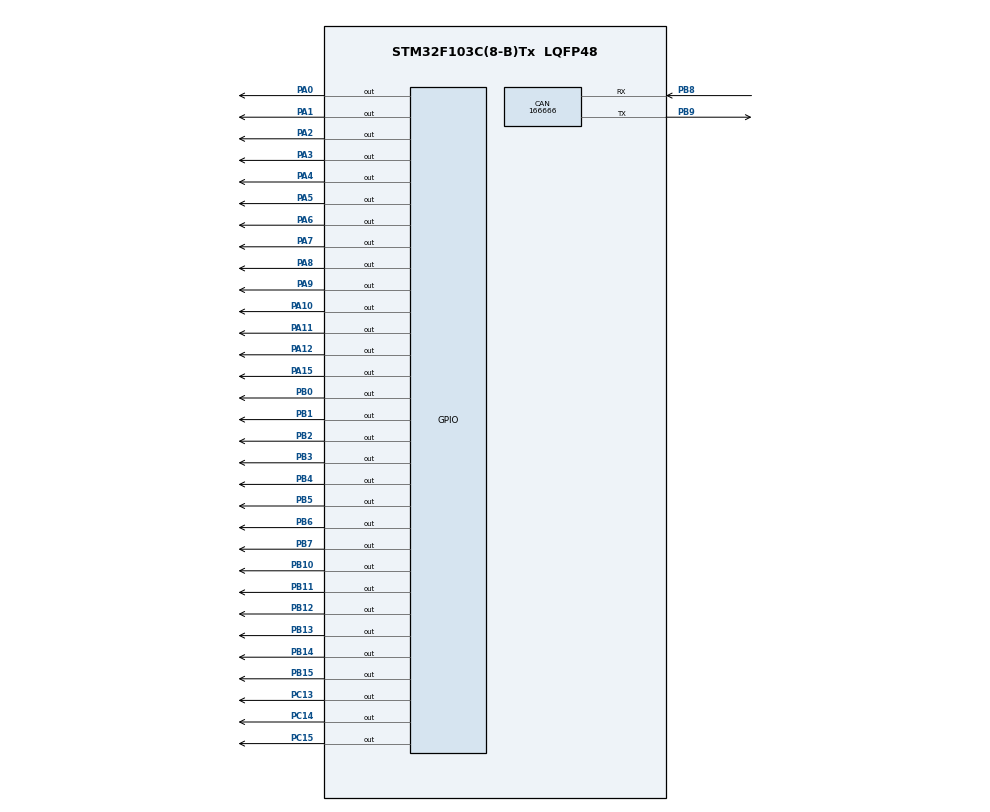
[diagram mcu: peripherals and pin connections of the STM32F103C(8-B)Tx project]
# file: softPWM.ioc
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CAN.CalculateBaudRate=166666
CAN.CalculateTimeBit=6000
CAN.CalculateTimeQuantum=2000.0
Dma.Request0=TIM1_UP
Dma.Request1=TIM2_UP
Dma.Request2=TIM4_UP
Dma.Request3=TIM1_CH4/TRIG/COM
Dma.TIM1_CH4/TRIG/COM.3.Direction=DMA_MEMORY_TO_PERIPH
Dma.TIM1_CH4/TRIG/COM.3.Instance=DMA1_Channel4
Dma.TIM1_CH4/TRIG/COM.3.MemDataAlignment=DMA_MDATAALIGN_WORD
Dma.TIM1_CH4/TRIG/COM.3.MemInc=DMA_MINC_ENABLE
Dma.TIM1_CH4/TRIG/COM.3.Mode=DMA_CIRCULAR
Dma.TIM1_CH4/TRIG/COM.3.PeriphDataAlignment=DMA_PDATAALIGN_WORD
Dma.TIM1_CH4/TRIG/COM.3.PeriphInc=DMA_PINC_DISABLE
Dma.TIM1_CH4/TRIG/COM.3.Priority=DMA_PRIORITY_LOW
Dma.TIM1_UP.0.Direction=DMA_MEMORY_TO_PERIPH
Dma.TIM1_UP.0.Instance=DMA1_Channel5
Dma.TIM1_UP.0.MemDataAlignment=DMA_MDATAALIGN_WORD
Dma.TIM1_UP.0.MemInc=DMA_MINC_ENABLE
Dma.TIM1_UP.0.Mode=DMA_CIRCULAR
Dma.TIM1_UP.0.PeriphDataAlignment=DMA_PDATAALIGN_WORD
Dma.TIM1_UP.0.PeriphInc=DMA_PINC_DISABLE
Dma.TIM1_UP.0.Priority=DMA_PRIORITY_LOW
Dma.TIM2_UP.1.Direction=DMA_MEMORY_TO_PERIPH
Dma.TIM2_UP.1.Instance=DMA1_Channel2
Dma.TIM2_UP.1.MemDataAlignment=DMA_MDATAALIGN_WORD
Dma.TIM2_UP.1.MemInc=DMA_MINC_ENABLE
Dma.TIM2_UP.1.Mode=DMA_CIRCULAR
Dma.TIM2_UP.1.PeriphDataAlignment=DMA_PDATAALIGN_WORD
Dma.TIM2_UP.1.PeriphInc=DMA_PINC_DISABLE
Dma.TIM2_UP.1.Priority=DMA_PRIORITY_LOW
Dma.TIM4_UP.2.Direction=DMA_MEMORY_TO_PERIPH
Dma.TIM4_UP.2.Instance=DMA1_Channel7
Dma.TIM4_UP.2.MemDataAlignment=DMA_MDATAALIGN_WORD
Dma.TIM4_UP.2.MemInc=DMA_MINC_ENABLE
Dma.TIM4_UP.2.Mode=DMA_CIRCULAR
Dma.TIM4_UP.2.PeriphDataAlignment=DMA_PDATAALIGN_WORD
Dma.TIM4_UP.2.PeriphInc=DMA_PINC_DISABLE
Dma.TIM4_UP.2.Priority=DMA_PRIORITY_LOW
Mcu.Family=STM32F1
Mcu.Name=STM32F103C(8-B)Tx
Mcu.Package=LQFP48
NVIC.DMA1_Channel2_IRQn=true\:0\:0\:false\:false\:true\:false\:true\:true
NVIC.DMA1_Channel4_IRQn=true\:0\:0\:false\:false\:true\:false\:true\:true
NVIC.DMA1_Channel5_IRQn=true\:0\:0\:false\:false\:true\:false\:true\:true
NVIC.DMA1_Channel7_IRQn=true\:0\:0\:false\:false\:true\:false\:true\:true
NVIC.PriorityGroup=NVIC_PRIORITYGROUP_4
PA0-WKUP.GPIO_PuPd=GPIO_PULLUP
PA0-WKUP.GPIO_Speed=GPIO_SPEED_FREQ_LOW
PA0-WKUP.Signal=GPIO_Output
PA1.GPIO_PuPd=GPIO_PULLUP
PA1.GPIO_Speed=GPIO_SPEED_FREQ_LOW
PA1.Signal=GPIO_Output
PA10.GPIO_Speed=GPIO_SPEED_FREQ_LOW
PA10.Signal=GPIO_Output
PA11.Signal=GPIO_Output
PA12.GPIO_Speed=GPIO_SPEED_FREQ_HIGH
PA12.Signal=GPIO_Output
PA13.Mode=Serial_Wire
PA13.Signal=SYS_JTMS-SWDIO
PA14.Mode=Serial_Wire
PA14.Signal=SYS_JTCK-SWCLK
PA15.Signal=GPIO_Output
PA2.GPIO_Speed=GPIO_SPEED_FREQ_LOW
PA2.Signal=GPIO_Output
PA3.GPIO_Speed=GPIO_SPEED_FREQ_LOW
PA3.Signal=GPIO_Output
PA4.GPIO_Speed=GPIO_SPEED_FREQ_LOW
PA4.Signal=GPIO_Output
PA5.GPIO_Speed=GPIO_SPEED_FREQ_LOW
PA5.PinState=GPIO_PIN_RESET
PA5.Signal=GPIO_Output
PA6.GPIO_Speed=GPIO_SPEED_FREQ_LOW
PA6.Signal=GPIO_Output
PA7.GPIO_Speed=GPIO_SPEED_FREQ_LOW
PA7.Signal=GPIO_Output
PA8.GPIO_Speed=GPIO_SPEED_FREQ_LOW
PA8.Signal=GPIO_Output
PA9.GPIO_Speed=GPIO_SPEED_FREQ_LOW
PA9.Signal=GPIO_Output
PB0.Signal=GPIO_Output
PB1.Signal=GPIO_Output
PB10.Signal=GPIO_Output
PB11.Signal=GPIO_Output
PB12.Signal=GPIO_Output
PB13.Signal=GPIO_Output
PB14.Signal=GPIO_Output
PB15.Signal=GPIO_Output
PB2.Signal=GPIO_Output
PB3.Signal=GPIO_Output
PB4.Signal=GPIO_Output
PB5.Signal=GPIO_Output
PB6.Signal=GPIO_Output
PB7.Signal=GPIO_Output
PB8.Mode=CAN_Activate
PB8.Signal=CAN_RX
PB9.Mode=CAN_Activate
PB9.Signal=CAN_TX
PC13-TAMPER-RTC.GPIO_ModeDefaultOutputPP=GPIO_MODE_OUTPUT_PP
PC13-TAMPER-RTC.GPIO_PuPd=GPIO_PULLDOWN
PC13-TAMPER-RTC.GPIO_Speed=GPIO_SPEED_FREQ_LOW
PC13-TAMPER-RTC.Signal=GPIO_Output
PC14-OSC32_IN.Signal=GPIO_Output
PC15-OSC32_OUT.Signal=GPIO_Output
PD0-OSC_IN.Mode=HSE-External-Oscillator
PD0-OSC_IN.Signal=RCC_OSC_IN
PD1-OSC_OUT.Mode=HSE-External-Oscillator
PD1-OSC_OUT.Signal=RCC_OSC_OUT
ProjectManager.HeapSize=0x200
ProjectManager.StackSize=0x400
ProjectManager.TargetToolchain=STM32CubeIDE
RCC.APB1Freq_Value=8000000
RCC.APB2Freq_Value=8000000
TIM1.Period=49
TIM1.TIM_MasterOutputTrigger=TIM_TRGO_UPDATE
TIM2.Period=50-1
TIM2.TIM_MasterOutputTrigger=TIM_TRGO_UPDATE
TIM4.AutoReloadPreload=TIM_AUTORELOAD_PRELOAD_ENABLE
TIM4.Period=50-1
TIM4.TIM_MasterOutputTrigger=TIM_TRGO_UPDATE
VP_TIM1_VS_ClockSourceINT.Mode=Internal
VP_TIM2_VS_ClockSourceINT.Mode=Internal
VP_TIM4_VS_ClockSourceINT.Mode=Internal
board=custom

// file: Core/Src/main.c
/* USER CODE BEGIN Header */
/**
  ******************************************************************************
  * @file           : main.c
  * @brief          : Main program body
  ******************************************************************************
  * @attention
  *
  * Copyright (c) 2023 STMicroelectronics.
  * All rights reserved.
  *
  * This software is licensed under terms that can be found in the LICENSE file
  * in the root directory of this software component.
  * If no LICENSE file comes with this software, it is provided AS-IS.
  *
  ******************************************************************************
  */
/* USER CODE END Header */
#include "main.h"

/* USER CODE BEGIN PD */
#define lengthSoftPWMbuffer 100
/* USER CODE END PD */

CAN_HandleTypeDef hcan;

TIM_HandleTypeDef htim1;
TIM_HandleTypeDef htim2;
TIM_HandleTypeDef htim4;
DMA_HandleTypeDef hdma_tim1_up;
DMA_HandleTypeDef hdma_tim1_ch4_trig_com;
DMA_HandleTypeDef hdma_tim2_up;
DMA_HandleTypeDef hdma_tim4_up;

/* USER CODE BEGIN PV */
uint32_t dataA[lengthSoftPWMbuffer];
uint32_t dataB[lengthSoftPWMbuffer];
uint32_t dataC[lengthSoftPWMbuffer];
/* USER CODE END PV */

void SystemClock_Config(void);
static void MX_GPIO_Init(void);
static void MX_DMA_Init(void);
static void MX_TIM4_Init(void);
static void MX_TIM2_Init(void);
static void MX_TIM1_Init(void);
static void MX_CAN_Init(void);

/* USER CODE BEGIN 0 */

void zeroSoftPWM(uint32_t softpwmbuffer[]){
	for (uint32_t i = 0;  i < lengthSoftPWMbuffer; ++ i) {
			softpwmbuffer[i]=0;
	}
}
void setSoftPWM(uint16_t pin, uint32_t duty ,uint32_t *softpwmbuffer){
	for (uint32_t i = 0;  i < lengthSoftPWMbuffer; ++ i) {
		if(i<duty){//set pin
			softpwmbuffer[i]&=(uint32_t)~(pin<<16);
			softpwmbuffer[i]|=(uint32_t)pin;
		}else{//reset pin
			softpwmbuffer[i]&=(uint32_t)~(pin);
			softpwmbuffer[i]|=(uint32_t)pin<<16;
		}
	}

}
/* USER CODE END 0 */

int main(void)
{

  /* MCU Configuration--------------------------------------------------------*/

  /* Reset of all peripherals, Initializes the Flash interface and the Systick. */
  HAL_Init();

  /* Configure the system clock */
  SystemClock_Config();

  /* Initialize all configured peripherals */
  MX_GPIO_Init();
  MX_DMA_Init();
  MX_TIM4_Init();
  MX_TIM2_Init();
  MX_TIM1_Init();
  MX_CAN_Init();
  /* USER CODE BEGIN 2 */

  HAL_TIM_Base_Start(&htim1);
  HAL_TIM_Base_Start(&htim2);
  HAL_TIM_Base_Start(&htim4);
  HAL_DMA_Start_IT(&hdma_tim1_up, 	(uint32_t)&(dataA[0]), (uint32_t)&(GPIOA->BSRR), sizeof(dataA));
  HAL_DMA_Start_IT(&hdma_tim2_up, 	(uint32_t)&(dataB[0]), (uint32_t)&(GPIOB->ODR), sizeof(dataB));
  HAL_DMA_Start_IT(&hdma_tim4_up, 	(uint32_t)&(dataC[0]), (uint32_t)&(GPIOC->BSRR), sizeof(dataC));

  //start DMAs
  __HAL_TIM_ENABLE_DMA(&htim1, TIM_DMA_UPDATE);
  __HAL_TIM_ENABLE_DMA(&htim2, TIM_DMA_UPDATE);
  __HAL_TIM_ENABLE_DMA(&htim4, TIM_DMA_UPDATE);

  uint32_t o=0;
  uint32_t f=0;
  zeroSoftPWM(dataA);
  zeroSoftPWM(dataB);
  zeroSoftPWM(dataC);

//  setSoftPWM(GPIO_PIN_13, 10, (uint32_t*)&dataC);
//  setSoftPWM(GPIO_PIN_13, 50, (uint32_t*)&dataC);
//  setSoftPWM(GPIO_PIN_13, 100, (uint32_t*)&dataC);

  /* USER CODE END 2 */

  /* Infinite loop */
  while (1)
  {

    /* USER CODE BEGIN 3 */
	  //GPIO bank A
	 	  setSoftPWM(GPIO_PIN_0, o, (uint32_t*)&dataA);
	 	  setSoftPWM(GPIO_PIN_1, o, (uint32_t*)&dataA);
	 	  setSoftPWM(GPIO_PIN_2, o, (uint32_t*)&dataA);
	 	  setSoftPWM(GPIO_PIN_3, o, (uint32_t*)&dataA);
	 	  setSoftPWM(GPIO_PIN_4, o, (uint32_t*)&dataA);
	 	  setSoftPWM(GPIO_PIN_5, o, (uint32_t*)&dataA);
	 	  setSoftPWM(GPIO_PIN_6, o, (uint32_t*)&dataA);
	 	  setSoftPWM(GPIO_PIN_7, o, (uint32_t*)&dataA);
	 	  setSoftPWM(GPIO_PIN_8, o, (uint32_t*)&dataA);
	 	  setSoftPWM(GPIO_PIN_9, o, (uint32_t*)&dataA);
	 	  setSoftPWM(GPIO_PIN_10, o, (uint32_t*)&dataA);
	 	  setSoftPWM(GPIO_PIN_11, o, (uint32_t*)&dataA);
	 	  setSoftPWM(GPIO_PIN_12, o, (uint32_t*)&dataA);
	 	  setSoftPWM(GPIO_PIN_15, o, (uint32_t*)&dataA);
	 	  //GPIO bank B
	 	  setSoftPWM(GPIO_PIN_0, o, (uint32_t*)&dataB);
	 	  setSoftPWM(GPIO_PIN_1, o, (uint32_t*)&dataB);
	 	  setSoftPWM(GPIO_PIN_2, o, (uint32_t*)&dataB);
	 	  setSoftPWM(GPIO_PIN_3, o, (uint32_t*)&dataB);
	 	  setSoftPWM(GPIO_PIN_4, o, (uint32_t*)&dataB);
	 	  setSoftPWM(GPIO_PIN_5, o, (uint32_t*)&dataB);
	 	  setSoftPWM(GPIO_PIN_6, o, (uint32_t*)&dataB);
	 	  setSoftPWM(GPIO_PIN_7, o, (uint32_t*)&dataB);
	 	  //setSoftPWM(GPIO_PIN_8, o, (uint32_t*)&dataB);
	 	  //setSoftPWM(GPIO_PIN_9, o, (uint32_t*)&dataB);
	 	  setSoftPWM(GPIO_PIN_10, o, (uint32_t*)&dataB);
	 	  setSoftPWM(GPIO_PIN_11, o, (uint32_t*)&dataB);
	 	  setSoftPWM(GPIO_PIN_12, o, (uint32_t*)&dataB);
	 	  setSoftPWM(GPIO_PIN_13, o, (uint32_t*)&dataB);
	 	  setSoftPWM(GPIO_PIN_14, o, (uint32_t*)&dataB);
	 	  setSoftPWM(GPIO_PIN_15, o, (uint32_t*)&dataB);
	 	  //GPIO bank C
	 	  setSoftPWM(GPIO_PIN_13, o, (uint32_t*)&dataC);
	 	  setSoftPWM(GPIO_PIN_14, o, (uint32_t*)&dataC);
	 	  setSoftPWM(GPIO_PIN_15, o, (uint32_t*)&dataC);

	 	  if(o==0)
	 	  {
	 		  f=1;
	 	  }
	 	  else if (o==100)
	 		  f=0;

	 	  if(f==1){
	 		  o++;
	 	  }
	 	  else
	 		  o--;

  }
  /* USER CODE END 3 */
}

void SystemClock_Config(void)
{
  RCC_OscInitTypeDef RCC_OscInitStruct = {0};
  RCC_ClkInitTypeDef RCC_ClkInitStruct = {0};

  /** Initializes the RCC Oscillators according to the specified parameters
  * in the RCC_OscInitTypeDef structure.
  */
  RCC_OscInitStruct.OscillatorType = RCC_OSCILLATORTYPE_HSI;
  RCC_OscInitStruct.HSIState = RCC_HSI_ON;
  RCC_OscInitStruct.HSICalibrationValue = RCC_HSICALIBRATION_DEFAULT;
  RCC_OscInitStruct.PLL.PLLState = RCC_PLL_NONE;
  if (HAL_RCC_OscConfig(&RCC_OscInitStruct) != HAL_OK)
  {
    Error_Handler();
  }

  /** Initializes the CPU, AHB and APB buses clocks
  */
  RCC_ClkInitStruct.ClockType = RCC_CLOCKTYPE_HCLK|RCC_CLOCKTYPE_SYSCLK
                              |RCC_CLOCKTYPE_PCLK1|RCC_CLOCKTYPE_PCLK2;
  RCC_ClkInitStruct.SYSCLKSource = RCC_SYSCLKSOURCE_HSI;
  RCC_ClkInitStruct.AHBCLKDivider = RCC_SYSCLK_DIV1;
  RCC_ClkInitStruct.APB1CLKDivider = RCC_HCLK_DIV1;
  RCC_ClkInitStruct.APB2CLKDivider = RCC_HCLK_DIV1;

  if (HAL_RCC_ClockConfig(&RCC_ClkInitStruct, FLASH_LATENCY_0) != HAL_OK)
  {
    Error_Handler();
  }
}

static void MX_CAN_Init(void)
{

  hcan.Instance = CAN1;
  hcan.Init.Prescaler = 16;
  hcan.Init.Mode = CAN_MODE_NORMAL;
  hcan.Init.SyncJumpWidth = CAN_SJW_1TQ;
  hcan.Init.TimeSeg1 = CAN_BS1_1TQ;
  hcan.Init.TimeSeg2 = CAN_BS2_1TQ;
  hcan.Init.TimeTriggeredMode = DISABLE;
  hcan.Init.AutoBusOff = DISABLE;
  hcan.Init.AutoWakeUp = DISABLE;
  hcan.Init.AutoRetransmission = DISABLE;
  hcan.Init.ReceiveFifoLocked = DISABLE;
  hcan.Init.TransmitFifoPriority = DISABLE;
  if (HAL_CAN_Init(&hcan) != HAL_OK)
  {
    Error_Handler();
  }

}

static void MX_TIM1_Init(void)
{

  TIM_ClockConfigTypeDef sClockSourceConfig = {0};
  TIM_MasterConfigTypeDef sMasterConfig = {0};

  htim1.Instance = TIM1;
  htim1.Init.Prescaler = 0;
  htim1.Init.CounterMode = TIM_COUNTERMODE_UP;
  htim1.Init.Period = 49;
  htim1.Init.ClockDivision = TIM_CLOCKDIVISION_DIV1;
  htim1.Init.RepetitionCounter = 0;
  htim1.Init.AutoReloadPreload = TIM_AUTORELOAD_PRELOAD_DISABLE;
  if (HAL_TIM_Base_Init(&htim1) != HAL_OK)
  {
    Error_Handler();
  }
  sClockSourceConfig.ClockSource = TIM_CLOCKSOURCE_INTERNAL;
  if (HAL_TIM_ConfigClockSource(&htim1, &sClockSourceConfig) != HAL_OK)
  {
    Error_Handler();
  }
  sMasterConfig.MasterOutputTrigger = TIM_TRGO_UPDATE;
  sMasterConfig.MasterSlaveMode = TIM_MASTERSLAVEMODE_DISABLE;
  if (HAL_TIMEx_MasterConfigSynchronization(&htim1, &sMasterConfig) != HAL_OK)
  {
    Error_Handler();
  }

}

static void MX_TIM2_Init(void)
{

  TIM_ClockConfigTypeDef sClockSourceConfig = {0};
  TIM_MasterConfigTypeDef sMasterConfig = {0};

  htim2.Instance = TIM2;
  htim2.Init.Prescaler = 0;
  htim2.Init.CounterMode = TIM_COUNTERMODE_UP;
  htim2.Init.Period = 50-1;
  htim2.Init.ClockDivision = TIM_CLOCKDIVISION_DIV1;
  htim2.Init.AutoReloadPreload = TIM_AUTORELOAD_PRELOAD_DISABLE;
  if (HAL_TIM_Base_Init(&htim2) != HAL_OK)
  {
    Error_Handler();
  }
  sClockSourceConfig.ClockSource = TIM_CLOCKSOURCE_INTERNAL;
  if (HAL_TIM_ConfigClockSource(&htim2, &sClockSourceConfig) != HAL_OK)
  {
    Error_Handler();
  }
  sMasterConfig.MasterOutputTrigger = TIM_TRGO_UPDATE;
  sMasterConfig.MasterSlaveMode = TIM_MASTERSLAVEMODE_DISABLE;
  if (HAL_TIMEx_MasterConfigSynchronization(&htim2, &sMasterConfig) != HAL_OK)
  {
    Error_Handler();
  }

}

static void MX_TIM4_Init(void)
{

  TIM_ClockConfigTypeDef sClockSourceConfig = {0};
  TIM_MasterConfigTypeDef sMasterConfig = {0};

  htim4.Instance = TIM4;
  htim4.Init.Prescaler = 0;
  htim4.Init.CounterMode = TIM_COUNTERMODE_UP;
  htim4.Init.Period = 50-1;
  htim4.Init.ClockDivision = TIM_CLOCKDIVISION_DIV1;
  htim4.Init.AutoReloadPreload = TIM_AUTORELOAD_PRELOAD_ENABLE;
  if (HAL_TIM_Base_Init(&htim4) != HAL_OK)
  {
    Error_Handler();
  }
  sClockSourceConfig.ClockSource = TIM_CLOCKSOURCE_INTERNAL;
  if (HAL_TIM_ConfigClockSource(&htim4, &sClockSourceConfig) != HAL_OK)
  {
    Error_Handler();
  }
  sMasterConfig.MasterOutputTrigger = TIM_TRGO_UPDATE;
  sMasterConfig.MasterSlaveMode = TIM_MASTERSLAVEMODE_DISABLE;
  if (HAL_TIMEx_MasterConfigSynchronization(&htim4, &sMasterConfig) != HAL_OK)
  {
    Error_Handler();
  }

}

static void MX_DMA_Init(void)
{

  /* DMA controller clock enable */
  __HAL_RCC_DMA1_CLK_ENABLE();

  /* DMA interrupt init */
  /* DMA1_Channel2_IRQn interrupt configuration */
  HAL_NVIC_SetPriority(DMA1_Channel2_IRQn, 0, 0);
  HAL_NVIC_EnableIRQ(DMA1_Channel2_IRQn);
  /* DMA1_Channel4_IRQn interrupt configuration */
  HAL_NVIC_SetPriority(DMA1_Channel4_IRQn, 0, 0);
  HAL_NVIC_EnableIRQ(DMA1_Channel4_IRQn);
  /* DMA1_Channel5_IRQn interrupt configuration */
  HAL_NVIC_SetPriority(DMA1_Channel5_IRQn, 0, 0);
  HAL_NVIC_EnableIRQ(DMA1_Channel5_IRQn);
  /* DMA1_Channel7_IRQn interrupt configuration */
  HAL_NVIC_SetPriority(DMA1_Channel7_IRQn, 0, 0);
  HAL_NVIC_EnableIRQ(DMA1_Channel7_IRQn);

}

static void MX_GPIO_Init(void)
{
  GPIO_InitTypeDef GPIO_InitStruct = {0};

  /* GPIO Ports Clock Enable */
  __HAL_RCC_GPIOC_CLK_ENABLE();
  __HAL_RCC_GPIOD_CLK_ENABLE();
  __HAL_RCC_GPIOA_CLK_ENABLE();
  __HAL_RCC_GPIOB_CLK_ENABLE();

  /*Configure GPIO pin Output Level */
  HAL_GPIO_WritePin(GPIOC, GPIO_PIN_13|GPIO_PIN_14|GPIO_PIN_15, GPIO_PIN_RESET);

  /*Configure GPIO pin Output Level */
  HAL_GPIO_WritePin(GPIOA, GPIO_PIN_0|GPIO_PIN_1|GPIO_PIN_2|GPIO_PIN_3
                          |GPIO_PIN_4|GPIO_PIN_5|GPIO_PIN_6|GPIO_PIN_7
                          |GPIO_PIN_8|GPIO_PIN_9|GPIO_PIN_10|GPIO_PIN_11
                          |GPIO_PIN_12|GPIO_PIN_15, GPIO_PIN_RESET);

  /*Configure GPIO pin Output Level */
  HAL_GPIO_WritePin(GPIOB, GPIO_PIN_0|GPIO_PIN_1|GPIO_PIN_2|GPIO_PIN_10
                          |GPIO_PIN_11|GPIO_PIN_12|GPIO_PIN_13|GPIO_PIN_14
                          |GPIO_PIN_15|GPIO_PIN_3|GPIO_PIN_4|GPIO_PIN_5
                          |GPIO_PIN_6|GPIO_PIN_7, GPIO_PIN_RESET);

  /*Configure GPIO pin : PC13 */
  GPIO_InitStruct.Pin = GPIO_PIN_13;
  GPIO_InitStruct.Mode = GPIO_MODE_OUTPUT_PP;
  GPIO_InitStruct.Pull = GPIO_PULLDOWN;
  GPIO_InitStruct.Speed = GPIO_SPEED_FREQ_LOW;
  HAL_GPIO_Init(GPIOC, &GPIO_InitStruct);

  /*Configure GPIO pins : PC14 PC15 */
  GPIO_InitStruct.Pin = GPIO_PIN_14|GPIO_PIN_15;
  GPIO_InitStruct.Mode = GPIO_MODE_OUTPUT_PP;
  GPIO_InitStruct.Pull = GPIO_NOPULL;
  GPIO_InitStruct.Speed = GPIO_SPEED_FREQ_LOW;
  HAL_GPIO_Init(GPIOC, &GPIO_InitStruct);

  /*Configure GPIO pins : PA0 PA1 */
  GPIO_InitStruct.Pin = GPIO_PIN_0|GPIO_PIN_1;
  GPIO_InitStruct.Mode = GPIO_MODE_OUTPUT_PP;
  GPIO_InitStruct.Pull = GPIO_PULLUP;
  GPIO_InitStruct.Speed = GPIO_SPEED_FREQ_LOW;
  HAL_GPIO_Init(GPIOA, &GPIO_InitStruct);

  /*Configure GPIO pins : PA2 PA3 PA4 PA5
                           PA6 PA7 PA8 PA9
                           PA10 PA11 PA15 */
  GPIO_InitStruct.Pin = GPIO_PIN_2|GPIO_PIN_3|GPIO_PIN_4|GPIO_PIN_5
                          |GPIO_PIN_6|GPIO_PIN_7|GPIO_PIN_8|GPIO_PIN_9
                          |GPIO_PIN_10|GPIO_PIN_11|GPIO_PIN_15;
  GPIO_InitStruct.Mode = GPIO_MODE_OUTPUT_PP;
  GPIO_InitStruct.Pull = GPIO_NOPULL;
  GPIO_InitStruct.Speed = GPIO_SPEED_FREQ_LOW;
  HAL_GPIO_Init(GPIOA, &GPIO_InitStruct);

  /*Configure GPIO pins : PB0 PB1 PB2 PB10
                           PB11 PB12 PB13 PB14
                           PB15 PB3 PB4 PB5
                           PB6 PB7 */
  GPIO_InitStruct.Pin = GPIO_PIN_0|GPIO_PIN_1|GPIO_PIN_2|GPIO_PIN_10
                          |GPIO_PIN_11|GPIO_PIN_12|GPIO_PIN_13|GPIO_PIN_14
                          |GPIO_PIN_15|GPIO_PIN_3|GPIO_PIN_4|GPIO_PIN_5
                          |GPIO_PIN_6|GPIO_PIN_7;
  GPIO_InitStruct.Mode = GPIO_MODE_OUTPUT_PP;
  GPIO_InitStruct.Pull = GPIO_NOPULL;
  GPIO_InitStruct.Speed = GPIO_SPEED_FREQ_LOW;
  HAL_GPIO_Init(GPIOB, &GPIO_InitStruct);

  /*Configure GPIO pin : PA12 */
  GPIO_InitStruct.Pin = GPIO_PIN_12;
  GPIO_InitStruct.Mode = GPIO_MODE_OUTPUT_PP;
  GPIO_InitStruct.Pull = GPIO_NOPULL;
  GPIO_InitStruct.Speed = GPIO_SPEED_FREQ_HIGH;
  HAL_GPIO_Init(GPIOA, &GPIO_InitStruct);

}

void Error_Handler(void)
{
  __disable_irq();
  while (1)
  {
  }
}
